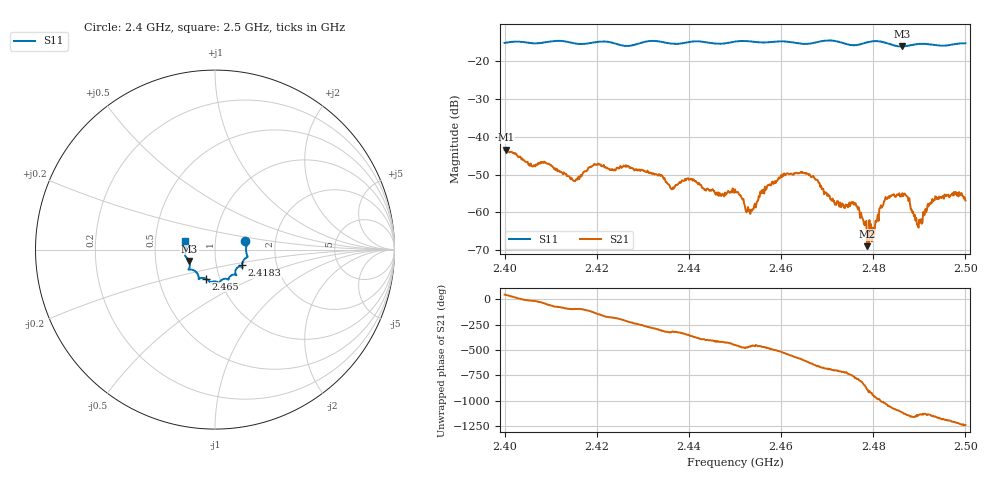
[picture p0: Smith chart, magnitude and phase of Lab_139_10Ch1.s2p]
# Hz S RI R 50
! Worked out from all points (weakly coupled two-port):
!   601 points, 2.4 GHz to 2.5 GHz, reference 50 ohm
!   highest |S21| = -43.42 dB at 2.4003 GHz (marker M1); lowest = -69.0 dB at 2.4787 GHz (marker M2)
!   lowest |S11| = -16.1 dB at 2.4862 GHz (marker M3), VSWR 1.37, Z = 37.2 - j4.82 ohm
!   |S11| at or under -10 dB: start of sweep to end of sweep
!   S12 and S22 are empty: the file has one direction only
!   S11 on the Smith chart (normalised r, x): 2.4 GHz: 1.40, +0.14; 2.4183 GHz: 1.33, -0.24; 2.465 GHz: 0.86, -0.28; 2.5 GHz: 0.71, +0.07
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2.4e9  0.1689 0.0469  0.00455 0.00495  0 0  0 0
2.400333e9  0.1709 0.0448  0.00498 0.00456  0 0  0 0
2.414833e9  0.1664 -0.0508  -0.000372 -0.00263  0 0  0 0
2.416667e9  0.1548 -0.0682  -0.000309 -0.00296  0 0  0 0
2.418333e9  0.1501 -0.0872  -0.00161 -0.00361  0 0  0 0
2.433333e9  0.1175 -0.1409  0.00134 0.00274  0 0  0 0
2.436333e9  0.0971 -0.1409  0.00154 0.00129  0 0  0 0
2.440167e9  0.0756 -0.1639  0.00271 0.00026  0 0  0 0
2.45e9  0.0262 -0.1803  -3.11e-05 -0.00201  0 0  0 0
2.4535e9  0.0169 -0.1821  -0.000183 -0.00107  0 0  0 0
2.457667e9  -0.0146 -0.1786  -0.00148 -0.00173  0 0  0 0
2.465e9  -0.0525 -0.1615  -0.00142 0.00301  0 0  0 0
2.466667e9  -0.0713 -0.1576  0.000171 0.00292  0 0  0 0
2.4715e9  -0.0906 -0.1633  0.00136 0.000399  0 0  0 0
2.476e9  -0.1099 -0.1202  0.000734 -0.0011  0 0  0 0
2.478667e9  -0.1394 -0.1111  -0.00035 -5.95e-05  0 0  0 0
2.480167e9  -0.1474 -0.1114  -0.00026 0.000432  0 0  0 0
2.483333e9  -0.1412 -0.0965  0.00141 0.000789  0 0  0 0
2.486167e9  -0.1437 -0.0632  0.00132 -0.000936  0 0  0 0
2.49e9  -0.1658 -0.0374  0.000413 -0.000684  0 0  0 0
2.493333e9  -0.1632 -0.0171  0.000269 -0.00142  0 0  0 0
2.5e9  -0.1666 0.0467  -0.00135 -0.000466  0 0  0 0
